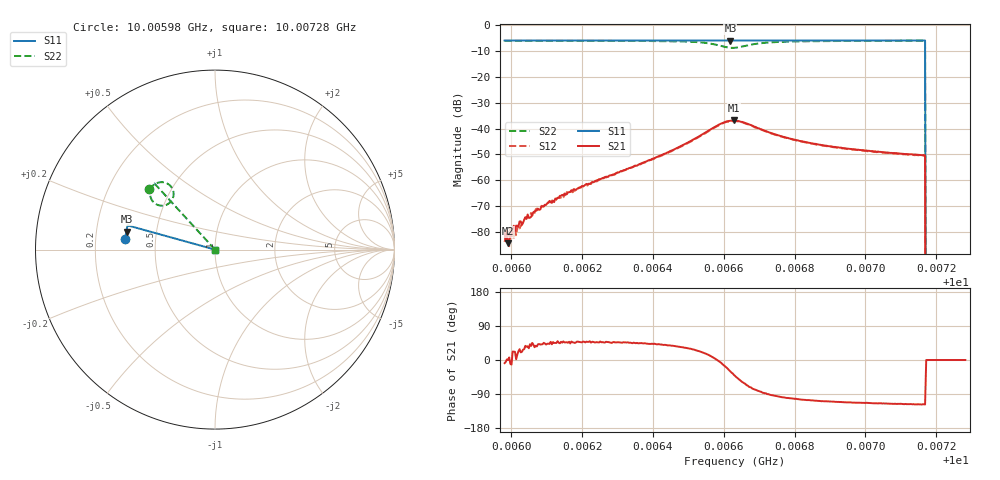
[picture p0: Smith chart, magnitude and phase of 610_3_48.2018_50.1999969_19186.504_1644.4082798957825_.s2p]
#  HZ  S  RI  R  50.00
! Rohde & Schwarz Vector Network Analyzer
! Rohde-Schwarz,ZNB20-2Port,1311601062101988,3.16
! Created: UTC 3/20/2024, 12:03:23 PM
! freq[Hz]  re:S11  im:S11  re:S21  im:S21  re:S12  im:S12  re:S22  im:S22
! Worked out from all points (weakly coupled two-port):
!   401 points, 10.00598 GHz to 10.00728 GHz, reference 50 ohm
!   highest |S21| = -36.85 dB at 10.00663 GHz (marker M1); lowest = -84.4 dB at 10.00599 GHz (marker M2)
!   lowest |S11| = -6.0 dB at 10.00662 GHz (marker M3), VSWR 3.02, Z = 16.7 + j4.47 ohm
!   |S11| at or under -10 dB: 10.00717 GHz to end of sweep
!   |S22| runs from - to -6.0 dB; largest |S21 - S12| = 0.001
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1.0005981e10  -0.4995 0.0593  9.76e-05 -1.41e-05  6.3e-05 1.2e-05  -0.3691 0.335
1.0005991e10  -0.4994 0.0598  5.99e-05 1.7e-07  9.49e-05 -3.14e-05  -0.3686 0.3356
1.0006007e10  -0.4993 0.061  0.000122 4.95e-05  6.11e-05 3.89e-05  -0.3675 0.3366
1.000602e10  -0.4992 0.0618  0.000117 4.92e-05  0.00013 3.9e-05  -0.3667 0.3376
1.0006037e10  -0.499 0.0629  0.000151 8.25e-05  0.000147 8.74e-05  -0.3658 0.3386
1.000604e10  -0.4989 0.0632  0.000153 0.000117  0.000155 0.000109  -0.3657 0.3386
1.0006102e10  -0.4987 0.0673  0.000263 0.000243  0.000257 0.000262  -0.3618 0.3429
1.0006199e10  -0.498 0.0735  0.000532 0.00056  0.000489 0.000559  -0.3547 0.3501
1.0006417e10  -0.496 0.0879  0.00218 0.00195  0.00206 0.00199  -0.3262 0.3696
1.0006469e10  -0.4954 0.0913  0.00343 0.00245  0.00324 0.00259  -0.3111 0.3745
1.000655e10  -0.494 0.0967  0.00821 0.0024  0.00786 0.00275  -0.2633 0.3666
1.0006596e10  -0.493 0.0991  0.0125 -0.00234  0.0124 -0.0015  -0.2309 0.3152
1.0006619e10  -0.4925 0.1  0.0122 -0.00714  0.0125 -0.00613  -0.2424 0.2724
1.0006629e10  -0.4926 0.1004  0.0112 -0.00906  0.0113 -0.00805  -0.2564 0.2578
1.0006632e10  -0.4927 0.1006  0.0106 -0.00952  0.011 -0.00866  -0.262 0.254
1.0006703e10  -0.4927 0.1049  0.00111 -0.00965  0.00157 -0.00956  -0.3512 0.2749
1.0006765e10  -0.4923 0.109  -0.00101 -0.00693  -0.00065 -0.00688  -0.3615 0.3088
1.000685e10  -0.4914 0.1146  -0.00146 -0.00495  -0.00122 -0.00496  -0.3578 0.333
1.0007068e10  -0.4885 0.1285  -0.00147 -0.00306  -0.0013 -0.00306  -0.3431 0.3605
1.0007162e10  -0.487 0.1346  -0.00138 -0.00273  -0.00123 -0.00272  -0.3375 0.3676
1.0007178e10  0 0  0 0  0 0  0 0
1.0007282e10  0 0  0 0  0 0  0 0
